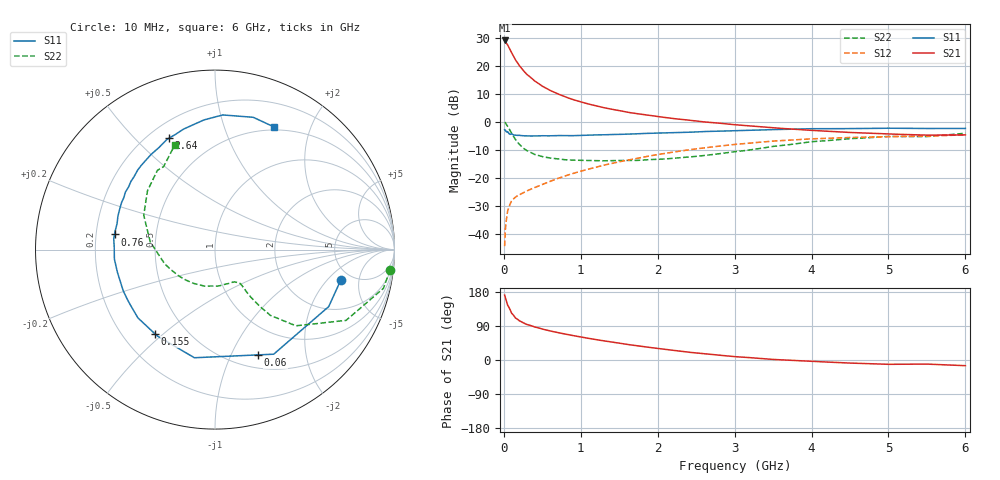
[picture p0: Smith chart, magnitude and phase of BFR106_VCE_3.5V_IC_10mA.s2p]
! Infineon Technologies  Discrete & RF Semiconductors
! BFR106
! VCE =  3.5 V,  IC =  10 mA
! Common Emitter S-Parameters:  Nov 2015
# GHz  S  MA  R  50
!  f  S11  S21  S12  S22
! GHz  MAG  ANG  MAG  ANG  MAG  ANG  MAG  ANG
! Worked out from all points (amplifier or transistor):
!   210 points, 10 MHz to 6 GHz, reference 50 ohm
!   highest |S21| = 29.0 dB at 10 MHz (marker M1)
!   |S21| within 3 dB of that: start of sweep to 74.7 MHz
!   unconditionally stable (mu >= 1): 486.4 MHz to 2.114 GHz; 5.122 GHz to end of sweep
!   at 185 MHz: K = 0.57, MSG = 23.5 dB, |S12| = -26.3 dB
!   at 1.52 GHz: K = 1.08, MAG = 7.3 dB, |S12| = -14.2 dB
!   at 6 GHz: K = 1.01, MAG = -0.7 dB, |S12| = -4.7 dB
!   S11 on the Smith chart (normalised r, x): 10 MHz: 4.06, -2.87; 60 MHz: 0.65, -1.27; 155 MHz: 0.33, -0.47; 760 MHz: 0.28, +0.07; 2.64 GHz: 0.28, +0.63; 6 GHz: 0.46, +1.49
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0.01  0.7211 -13.6  28.32 171.3  0.006 84.8  0.9828 -6.6
0.02  0.7087 -26.6  27.46 164.3  0.0119 77.7  0.9626 -13.0
0.05  0.6682 -60.7  23.46 144.4  0.0257 63.2  0.8296 -28.4
0.06  0.6333 -67.9  22.02 141.2  0.0282 60.0  0.784 -30.7
0.1  0.6134 -100.8  17.2 123.7  0.0388 51.5  0.619 -43.3
0.15  0.5788 -123.9  12.79 111.1  0.045 46.4  0.4793 -49.9
0.155  0.5766 -125.3  12.52 110.5  0.0455 46.3  0.4711 -50.1
0.2  0.5737 -138.5  10.15 103.7  0.0498 45.7  0.3975 -51.8
0.26  0.5617 -150.4  8.026 97.1  0.0548 47.2  0.3319 -53.0
0.3  0.5604 -155.9  7.003 93.7  0.0582 48.6  0.3055 -53.3
0.4  0.5582 -166.9  5.361 87.2  0.0668 51.8  0.2612 -53.1
0.5  0.563 -174.6  4.32 81.6  0.0759 54.6  0.2375 -53.2
0.6  0.5611 179.1  3.642 76.7  0.0862 57.1  0.2254 -54.7
0.76  0.5661 171.4  2.923 69.9  0.1036 59.4  0.2126 -58.3
1.02  0.573 160.2  2.223 60.0  0.1332 61.1  0.2048 -65.6
1.4  0.593 147.4  1.672 47.5  0.1799 60.7  0.2028 -81.1
2.02  0.6277 128.9  1.228 30.0  0.2624 55.5  0.214 -112.5
2.64  0.6713 112.6  0.984 15.9  0.3463 47.2  0.2525 -146.1
3.1  0.6985 102.6  0.864 7.6  0.4045 39.8  0.3018 -169.6
4.1  0.7513 85.3  0.69 -4.5  0.5006 22.8  0.4496 150.9
5.1  0.7649 72.7  0.599 -11.3  0.5456 8.0  0.5451 125.2
6  0.7591 64.5  0.582 -15.0  0.584 -2.6  0.6238 111.1
